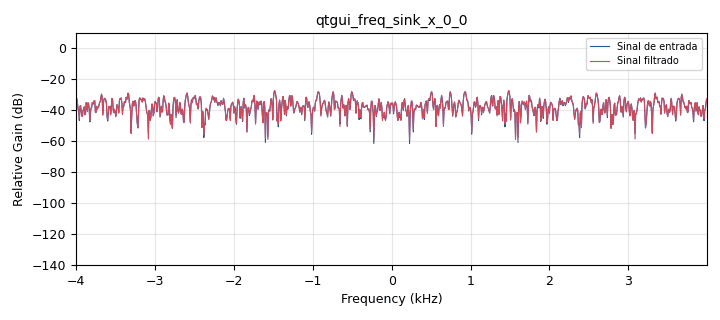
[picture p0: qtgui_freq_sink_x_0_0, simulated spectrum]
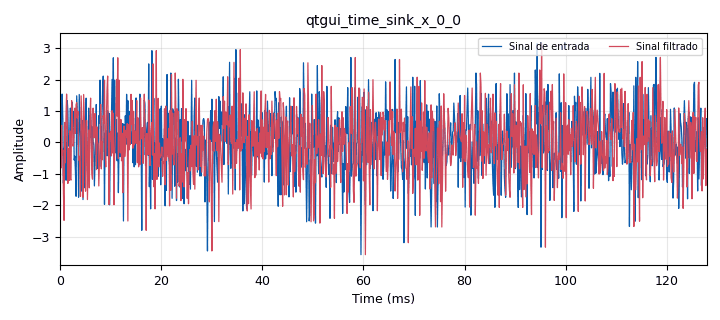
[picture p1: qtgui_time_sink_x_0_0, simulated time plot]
options:
  parameters:
    author: Leocarlos B S Lima
    category: Custom
    description: Experimento para Laboratório de Princípios de Comunicações. Departamento de Engenharia Elétrica - DEE da Universidade Federal de Campina Grande - UFCG.
    generate_options: qt_gui
    id: Labo2_1a
    output_language: python
    title: Filtragem de sinais
  states: {}

blocks:
- name: samp_rate
  id: variable
  parameters:
    value: '8000'
  states: {}
- name: analog_noise_source_x_0
  id: analog_noise_source_x
  parameters:
    amp: '1'
    noise_type: analog.GR_GAUSSIAN
    seed: '0'
    type: float
  states: {}
- name: blocks_throttle_0
  id: blocks_throttle
  parameters:
    samples_per_second: samp_rate
    type: float
  states: {}
- name: fir_filter_xxx_0
  id: fir_filter_xxx
  parameters:
    decim: '1'
    taps: '[0, 0, 0, 0, 0, 0, 0, 1, 0, 0, 0, 0, 0, 0, 0]'
    type: fff
  states: {}
- name: qtgui_freq_sink_x_0_0
  id: qtgui_freq_sink_x
  parameters:
    bw: samp_rate
    fc: '0'
    fftsize: '1024'
    grid: 'True'
    label1: Sinal de entrada
    label2: Sinal filtrado
    nconnections: '2'
    showports: 'True'
    type: float
  states: {}
- name: qtgui_time_sink_x_0_0
  id: qtgui_time_sink_x
  parameters:
    autoscale: 'True'
    grid: 'True'
    label1: Sinal de entrada
    label2: Sinal filtrado
    nconnections: '2'
    size: '1024'
    srate: samp_rate
    type: float
  states: {}

connections:
- [analog_noise_source_x_0, '0', blocks_throttle_0, '0']
- [blocks_throttle_0, '0', fir_filter_xxx_0, '0']
- [blocks_throttle_0, '0', qtgui_freq_sink_x_0_0, '0']
- [blocks_throttle_0, '0', qtgui_time_sink_x_0_0, '0']
- [fir_filter_xxx_0, '0', qtgui_freq_sink_x_0_0, '1']
- [fir_filter_xxx_0, '0', qtgui_time_sink_x_0_0, '1']

metadata:
  file_format: 1
  grc_version: 3.10.4.0
